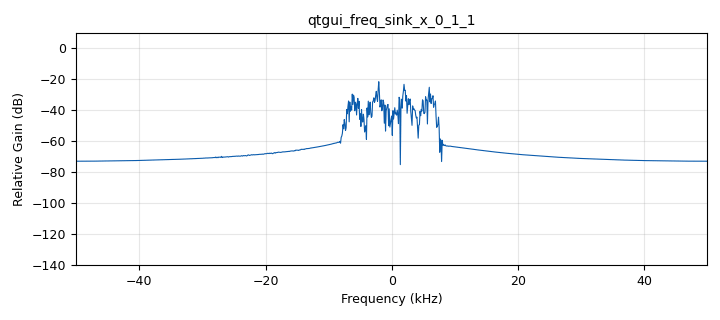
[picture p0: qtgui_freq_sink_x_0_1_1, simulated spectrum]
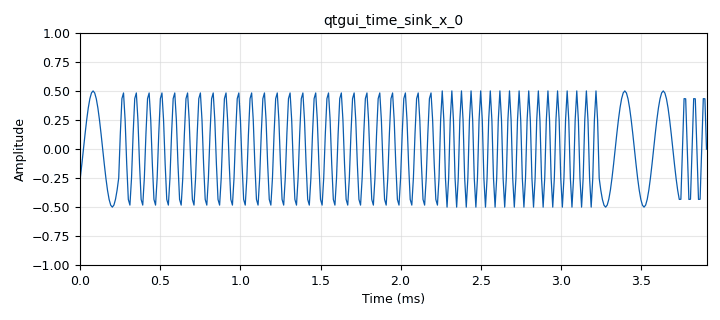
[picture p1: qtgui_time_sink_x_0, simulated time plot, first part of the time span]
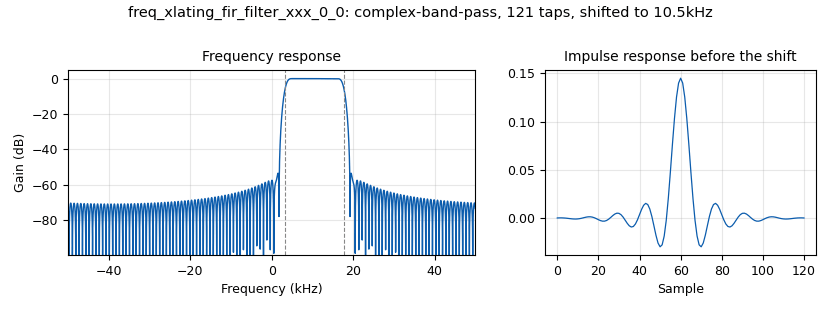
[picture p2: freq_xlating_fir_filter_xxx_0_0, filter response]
options:
  parameters:
    author: Barry Duggan
    description: FSK_example
    generate_options: qt_gui
    id: FSK_example
    output_language: python
    title: FSK_example
  states: {}

blocks:
- name: bandwidth
  id: variable
  parameters:
    value: 25e3
  states: {}
- name: decimation
  id: variable
  parameters:
    value: '2'
  states: {}
- name: fsk
  id: variable
  parameters:
    value: '4'
  states: {}
- name: inp_amp
  id: variable
  parameters:
    value: (mark/bandwidth)-vco_offset
  states: {}
- name: linfunc_a
  id: variable
  parameters:
    value: '-4.0835e3'
  states: {}
- name: linfunc_b
  id: variable
  parameters:
    value: 2.6834e4
  states: {}
- name: mark
  id: variable
  parameters:
    value: bandwidth
  states: {}
- name: samp_rate
  id: variable
  parameters:
    value: 100e3
  states: {}
- name: space
  id: variable
  parameters:
    value: bandwidth/2
  states: {}
- name: transition_bw
  id: variable
  parameters:
    value: '1000'
  states: {}
- name: vco_offset
  id: variable
  parameters:
    value: space/bandwidth
  states: {}
- name: vco_sens
  id: variable
  parameters:
    value: (2*math.pi*bandwidth)/(fsk-1)
  states: {}
- name: analog_random_source_x_0
  id: analog_random_source_x
  parameters:
    max: fsk
    min: '0'
    num_samps: '1000'
    repeat: 'True'
    type: byte
  states: {}
- name: blocks_add_const_vxx_0
  id: blocks_add_const_vxx
  parameters:
    comment: vco_offset
    const: vco_offset
    type: float
  states: {}
- name: blocks_multiply_const_vxx_0
  id: blocks_multiply_const_vxx
  parameters:
    comment: inp_amp
    const: inp_amp
    type: float
  states: {}
- name: blocks_repeat_0
  id: blocks_repeat
  parameters:
    interp: '50'
    type: byte
  states: {}
- name: blocks_throttle_0_0
  id: blocks_throttle
  parameters:
    samples_per_second: samp_rate
    type: byte
  states: {}
- name: blocks_uchar_to_float_0
  id: blocks_uchar_to_float
  parameters: {}
  states: {}
- name: blocks_vco_f_0
  id: blocks_vco_f
  parameters:
    amplitude: '0.5'
    samp_rate: samp_rate
    sensitivity: vco_sens
  states: {}
- name: freq_xlating_fir_filter_xxx_0_0
  id: freq_xlating_fir_filter_xxx
  parameters:
    center_freq: linfunc_a*fsk+linfunc_b
    decim: '1'
    samp_rate: samp_rate
    taps: firdes.complex_band_pass(1, samp_rate, -bandwidth/4 - transition_bw , bandwidth/4+transition_bw, 2000)
    type: fcc
  states: {}
- name: import_0
  id: import
  parameters:
    imports: import math
  states: {}
- name: qtgui_freq_sink_x_0_1_1
  id: qtgui_freq_sink_x
  parameters:
    bw: samp_rate
    fc: '0'
    fftsize: '1024'
    type: complex
    wintype: window.WIN_RECTANGULAR
  states: {}
- name: qtgui_time_sink_x_0
  id: qtgui_time_sink_x
  parameters:
    size: '1024'
    srate: samp_rate
    type: float
  states: {}
- name: virtual_sink_0
  id: virtual_sink
  parameters:
    stream_id: '101'
  states: {}
- name: virtual_source_0
  id: virtual_source
  parameters:
    stream_id: '101'
  states: {}

connections:
- [analog_random_source_x_0, '0', blocks_throttle_0_0, '0']
- [blocks_add_const_vxx_0, '0', blocks_vco_f_0, '0']
- [blocks_multiply_const_vxx_0, '0', blocks_add_const_vxx_0, '0']
- [blocks_repeat_0, '0', blocks_uchar_to_float_0, '0']
- [blocks_throttle_0_0, '0', blocks_repeat_0, '0']
- [blocks_uchar_to_float_0, '0', blocks_multiply_const_vxx_0, '0']
- [blocks_vco_f_0, '0', virtual_sink_0, '0']
- [freq_xlating_fir_filter_xxx_0_0, '0', qtgui_freq_sink_x_0_1_1, '0']
- [virtual_source_0, '0', freq_xlating_fir_filter_xxx_0_0, '0']
- [virtual_source_0, '0', qtgui_time_sink_x_0, '0']

metadata:
  file_format: 1
  grc_version: 3.10.5.1
